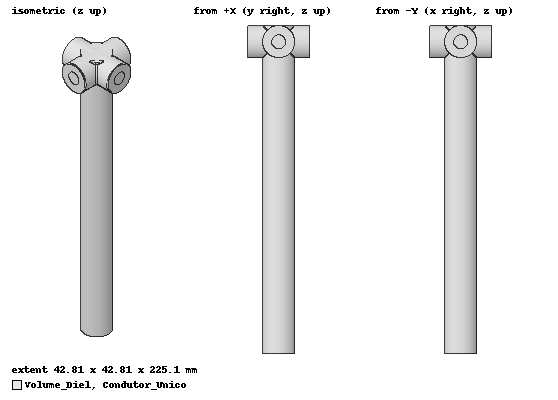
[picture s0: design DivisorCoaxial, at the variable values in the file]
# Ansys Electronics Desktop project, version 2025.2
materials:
  vacuum: permittivity=1
  Ar: permittivity=1.0006 permeability=1
  pec: conductivity=1e+30
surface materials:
  Steel-oxidised-surface

design DivisorCoaxial (HFSS, HFSS Modal Network, model units mm)
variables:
  f_start = 600MHz
  f_stop = 800MHz
  f0 = (f_start+f_stop)/2
  d_ext = 25mm
  wall_thick = 1.5mm
  n_sections = 2
  n_outputs = 4
  comp_total = 224.77692mm
  comp_secoes = 214.07326mm
  dia_int_tubo = d_ext-(2*wall_thick)
  dia_saida_diel = 22mm
  dia_saida_cond = 9.5523936mm
  comp_saida = 21.407326mm
  dia_sc1 = 12.196367mm
  dia_sc2 = 16.380479mm
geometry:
  Volume_Diel [Ar] = cylinder(axis=Z, base_centre=(0mm, 0mm, 0mm), radius=dia_int_tubo/2, height=comp_total)
  Condutor_Unico [pec] = cylinder(axis=Z, base_centre=(0mm, 0mm, 0mm), radius=dia_sc1/2, height=107.03663mm)
  Cond_Sec2 = cylinder(axis=Z, base_centre=(0mm, 0mm, 107.03663mm), radius=dia_sc2/2, height=107.03663mm)
  Output_Outer_1 = cylinder(axis=X, base_centre=(0mm, 0mm, comp_secoes), radius=dia_saida_diel/2, height=comp_saida)
  Output_Inner_1 = cylinder(axis=X, base_centre=(0mm, 0mm, comp_secoes), radius=dia_saida_cond/2, height=comp_saida)
  Output_Outer_1_1, Output_Outer_1_2, Output_Outer_1_3 = Output_Outer_1.duplicate_around_axis(axis=Z, angle=360deg/4, total=4)
  Output_Inner_1_1, Output_Inner_1_2, Output_Inner_1_3 = Output_Inner_1.duplicate_around_axis(axis=Z, angle=360deg/4, total=4)
  Volume_Diel.unite(Output_Outer_1, Output_Outer_1_1, Output_Outer_1_2, Output_Outer_1_3)
  Condutor_Unico.unite(Cond_Sec2, Output_Inner_1, Output_Inner_1_1, Output_Inner_1_2, Output_Inner_1_3)
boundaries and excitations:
  P1: Wave Port Faces=Volume_Diel.face(-z end) WavePortType=Modal NumModes=1 Modes{Mode1{CharImp=Zpi RenormImp=50ohm}}
  P2: Wave Port Faces=Volume_Diel.face(at (21.4073, 0, 214.073)) WavePortType=Modal NumModes=1 Modes{Mode1{CharImp=Zpi RenormImp=50ohm}}
  P3: Wave Port Faces=Volume_Diel.face(at (0, 21.4073, 214.073)) WavePortType=Modal NumModes=1 Modes{Mode1{CharImp=Zpi RenormImp=50ohm}}
  P4: Wave Port Faces=Volume_Diel.face(at (-21.4073, 0, 214.073)) WavePortType=Modal NumModes=1 Modes{Mode1{CharImp=Zpi RenormImp=50ohm}}
  P5: Wave Port Faces=Volume_Diel.face(at (0, -21.4073, 214.073)) WavePortType=Modal NumModes=1 Modes{Mode1{CharImp=Zpi RenormImp=50ohm}}
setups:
  Setup1: HfssDriven Frequency=5GHz MaxDeltaS=0.02 MaximumPasses=8 MinimumPasses=1 MinimumConvergedPasses=1 PercentRefinement=30 BasisOrder=1 PortAccuracy=2 DrivenSolverType="Direct Solver"
    sweep Sweep1: 600MHz to 800MHz, 201 points; Type=Fast
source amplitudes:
  P1:1: 1W 0deg
  P2:1, P3:1, P4:1, P5:1: 0W 0deg
